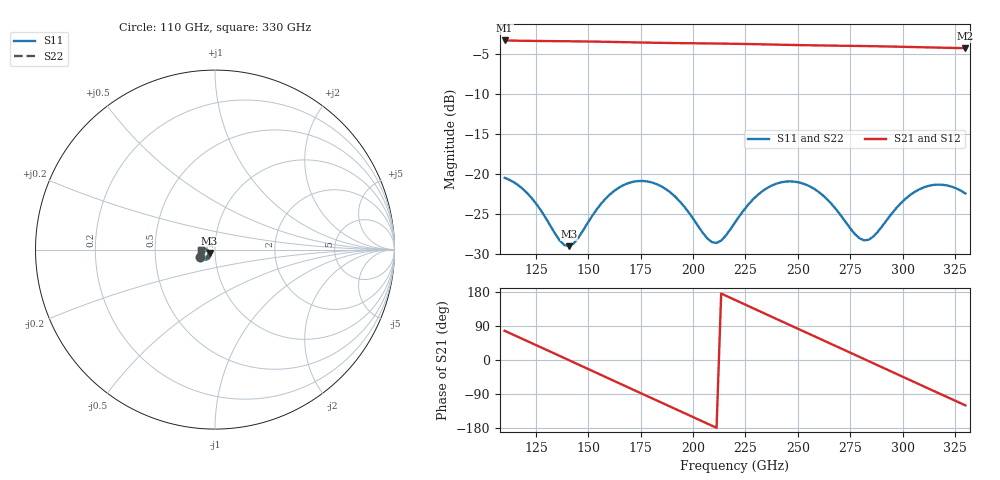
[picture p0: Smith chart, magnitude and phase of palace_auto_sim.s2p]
#  GHZ S DB R 50
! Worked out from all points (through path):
!   101 points, 110 GHz to 330 GHz, reference 50 ohm
!   highest |S21| = -3.34 dB at 110 GHz (marker M1); lowest = -4.3 dB at 330 GHz (marker M2)
!   group delay of S21, straight-line fit = 7.04 ps
!   lowest |S11| = -29.0 dB at 140.8 GHz (marker M3), VSWR 1.07, Z = 47 - j1.77 ohm
!   |S11| at or under -10 dB: start of sweep to end of sweep
!   |S22| runs from -28.8 to -20.4 dB; largest |S21 - S12| = 1.2e-13
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110  -20.47 -152.3  -3.34 77.1  -3.34 77.1  -20.45 -152.5
118.8  -21.89 -166.7  -3.39 55.0  -3.39 55.0  -21.84 -166.7
127.6  -24.65 -174.8  -3.41 32.8  -3.41 32.8  -24.56 -174.7
140.8  -29.00 -148.0  -3.45 -0.7  -3.45 -0.7  -28.84 -148.5
147.4  -27.07 -128.7  -3.47 -17.4  -3.47 -17.4  -26.99 -129.5
156.2  -23.67 -127.2  -3.50 -39.8  -3.50 -39.8  -23.65 -127.7
167.2  -21.33 -141.0  -3.56 -67.7  -3.56 -67.7  -21.32 -141.2
176  -20.87 -155.1  -3.60 -90.0  -3.60 -90.0  -20.86 -155.2
184.8  -21.54 -168.8  -3.64 -112.2  -3.64 -112.2  -21.53 -168.8
198  -24.83 179.0  -3.69 -145.6  -3.69 -145.6  -24.83 179.1
209  -28.50 -163.1  -3.72 -173.5  -3.72 -173.5  -28.50 -162.8
220  -26.05 -135.0  -3.76 158.6  -3.76 158.6  -26.04 -134.6
231  -22.58 -138.7  -3.82 130.6  -3.82 130.6  -22.56 -138.3
239.8  -21.20 -150.2  -3.87 108.3  -3.87 108.3  -21.18 -149.7
248.6  -20.96 -163.4  -3.91 86.1  -3.91 86.1  -20.94 -162.9
257.4  -21.79 -175.9  -3.95 63.9  -3.95 63.9  -21.78 -175.3
270.6  -25.19 175.2  -4.00 30.5  -4.00 30.5  -25.19 175.8
281.6  -28.28 -164.4  -4.04 2.6  -4.04 2.6  -28.27 -163.5
294.8  -24.95 -139.9  -4.11 -30.9  -4.11 -30.9  -24.92 -139.0
312.4  -21.48 -155.4  -4.21 -75.4  -4.21 -75.4  -21.46 -154.6
321.2  -21.43 -167.3  -4.26 -97.6  -4.26 -97.6  -21.42 -166.6
330  -22.42 -177.7  -4.30 -119.8  -4.30 -119.8  -22.44 -177.0
